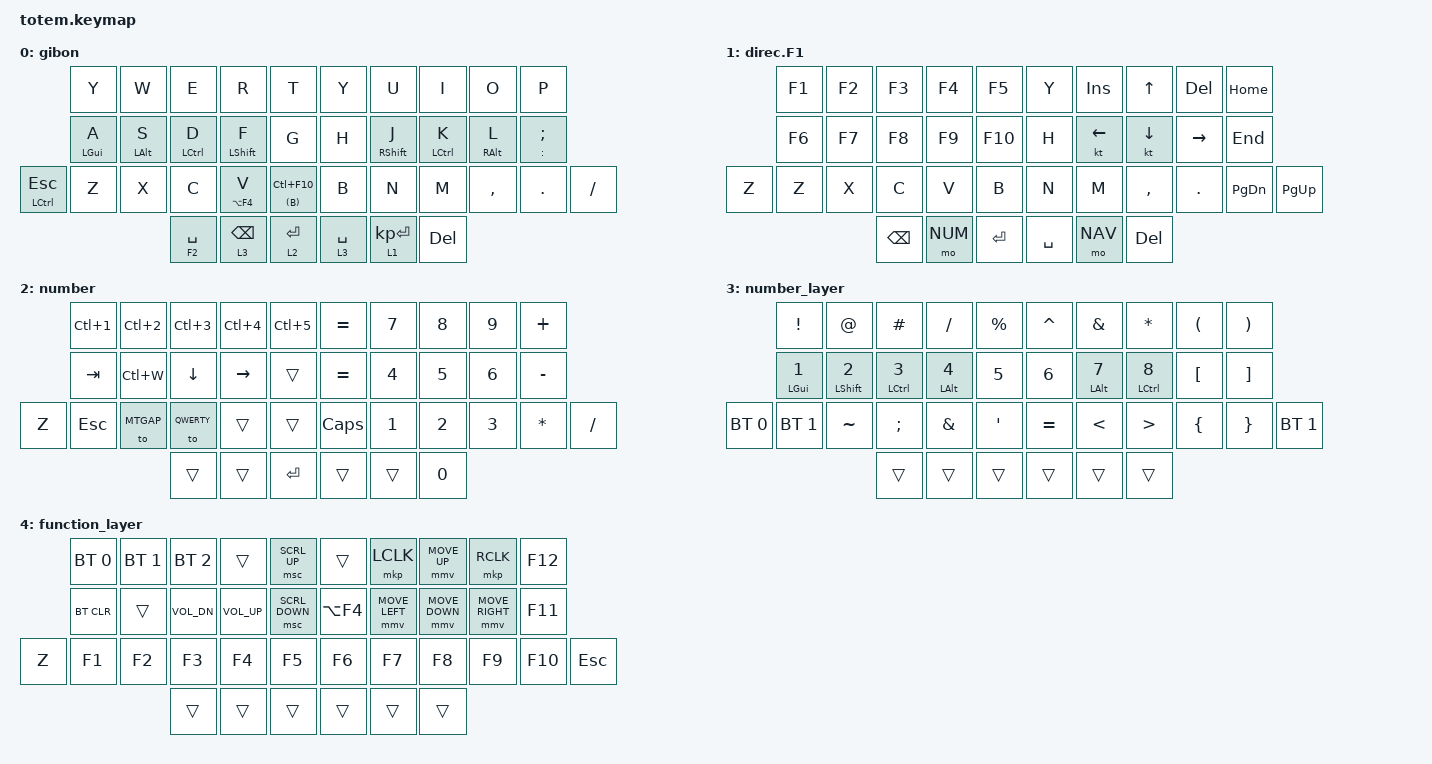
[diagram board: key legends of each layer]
/*
 * Copyright (c) 2020 The ZMK Contributors
 *
 * SPDX-License-Identifier: MIT
 */

#define MTGAP 0
#define QWERTY 1
#define NAV 2
#define NUM 3
#define FUNC 4
#define NOTHING 5

#include <behaviors/mouse_keys.dtsi>
#include <dt-bindings/zmk/mouse.h>
#include <behaviors.dtsi>
#include <dt-bindings/zmk/bt.h>
#include <dt-bindings/zmk/keys.h>
#include <dt-bindings/zmk/pointing.h>

/ {
    conditional_layers {
        compatible = "zmk,conditional-layers";

        tri_layer {
            if-layers = <NAV NUM>;
            then-layer = <FUNC>;
        };
    };

    behaviors {
        ht: holdtap_tappreffered {
            compatible = "zmk,behavior-hold-tap";
            #binding-cells = <2>;
            flavor = "tap-preferred";
            tapping-term-ms = <200>;
            quick-tap-ms = <200>;
            require-prior-idle-ms = <125>;
            bindings = <&kp>, <&kp>;
        };
    };

    combos {
        compatible = "zmk,combos";

        g1 {
            bindings = <&kp LEFT_PARENTHESIS>;
            key-positions = <2 1>;
        };

        g2 {
            bindings = <&kp RIGHT_PARENTHESIS>;
            key-positions = <3 2>;
        };

        wave {
            bindings = <&kp TILDE>;
            key-positions = <10 11>;
        };

        d1 {
            bindings = <&kp MINUS>;
            key-positions = <21 22>;
        };

        d2 {
            bindings = <&kt COLON>;
            key-positions = <22 23>;
        };

        f10 {
            bindings = <&kp LC(F10)>;
            key-positions = <1 10>;
        };
    };

    keymap {
        compatible = "zmk,keymap";

        gibon {
            // -----------------------------------------------------------------------------------------
            // |  TAB |  Y    |  P      |  O      |  U      |  J  |   |  K  |  D      |  L      |  C      |  W      | BKSP |
            // | CTRL | gui(I)|  sft(N) |  ctl(E) |  alt(A) |  .  |   |  M  |  alt(H) |  ctl(T) |  sft(S) |  gui(R) |  '   |
            // | SHFT |  Q    |  Z      |  ;      |  ,      |  '  |   |  B  |  F      |  G      |  V      |  X      | ESC  |
            //                          | bksp    | NUM     | SPC |   | ENT | RSE     | ALT     |

            bindings = <
                      &kp Y       &kp W           &kp E         &kp R             &kp T              &kp Y        &kp U              &kp I        &kp O            &kp P
                      &ht LGUI A  &ht LEFT_ALT S  &ht LCTRL D   &ht LEFT_SHIFT F  &kp G              &kp H        &ht RIGHT_SHIFT J  &ht LCTRL K  &ht RIGHT_ALT L  &ht COLON SEMICOLON
&ht LEFT_CONTROL ESC  &kp Z       &kp X           &kp C         &ht LA(F4) V      &ht (B) LC(F10)    &kp B        &kp N              &kp M        &kp COMMA        &kp PERIOD           &kp SLASH
                                                  &ht F2 SPACE  &lt 3 BACKSPACE   &lt 2 ENTER        &lt 3 SPACE  &lt 1 KP_ENTER     &kp DEL
            >;
        };

        direc.F1 {
            // -----------------------------------------------------------------------------------------
            // |  TAB |  Q    |  W      |  E      |  R      |  T  |   |  Y  |  U      |  I      |  O      |  P      | BKSP |
            // | CTRL | gui(A)|  sft(S) |  ctl(D) |  alt(F) |  G  |   |  H  |  alt(J) |  ctl(K) |  sft(L) |  gui(;) |  '   |
            // | SHFT |  Z    |  X      |  C      |  V      |  B  |   |  N  |  M      |  ,      |  .      |  /      | ESC  |
            //                          | GUI     | LWR     | SPC |   | ENT | RSE     | ALT     |

            bindings = <
       &kp F1  &kp F2  &kp F3    &kp F4   &kp F5       &kp Y      &kp INSERT  &kp UP_ARROW  &kp DEL    &kp HOME
       &kp F6  &kp F7  &kp F8    &kp F9   &kp F10      &kp H      &kt LEFT    &kt DOWN      &kp RIGHT  &kp END
&kp Z  &kp Z   &kp X   &kp C     &kp V    &kp B        &kp N      &kp M       &kp COMMA     &kp DOT    &kp PAGE_DOWN  &kp PAGE_UP
                       &kp BKSP  &mo NUM  &kp ENTER    &kp SPACE  &mo NAV     &kp DEL
            >;
        };

        number {
            // -----------------------------------------------------------------------------------------
            // |  TAB |  `  |     |  up |     |     |   |     |        | PGUP   | RALT  |     | BKSP |
            // | BTCLR| TAB | left| down|right|     |   |     |LA(HOME)|LC(PGDN)|LS(END)|     |      |
            // | SHFT | ESC |MTGAP|QWERT|     |     |   |     |G(left) |G(UP)   |G(RIGH)|CAPS |      |
            //                    |     |     |     |   |     |        |        |

            bindings = <
       &kp LC(NUMBER_1)  &kp LC(NUMBER_2)  &kp LC(NUMBER_3)  &kp LC(NUMBER_4)  &kp LC(N5)    &kp EQUAL     &kp N7        &kp N8        &kp N9        &kp PLUS
       &kp TAB           &kp LC(W)         &kp DOWN          &kp RIGHT         &trans        &kp EQUAL     &kp NUMBER_4  &kp N5        &kp NUMBER_6  &kp MINUS
&kp Z  &kp ESC           &to MTGAP         &to QWERTY        &trans            &trans        &kp CAPSLOCK  &kp NUMBER_1  &kp NUMBER_2  &kp NUMBER_3  &kp ASTERISK  &kp SLASH
                                           &trans            &trans            &kp ENTER     &trans        &trans        &kp N0
            >;
        };

        number_layer {
            // -----------------------------------------------------------------------------------------
            // |  TAB |  +  |  -  |  *  |  /  |  %  |   |  \  |  (  |  )  |  [  |  ]  | BKSP |
            // | CTRL |LG(1)|LS(2)|LC(3)|LA(4)|  5  |   |  6  |LA(7)|LC(8)|LS(9)|LG(0)|  `   |
            // | SHFT |  !  |  ~  |  ;  |  &  |  '  |   |  =  |  <  |  >  |  {  |  }  |  ~   |
            //                    | GUI |     | SPC |   | ENT |     | ALT |

            bindings = <
              &kp EXCLAMATION  &kp AT_SIGN   &kp HASH      &kp SLASH    &kp PRCNT    &kp CARET  &kp AMPERSAND  &kp ASTERISK  &kp LEFT_PARENTHESIS  &kp RIGHT_PARENTHESIS
              &ht LGUI N1      &ht LSHFT N2  &ht LCTRL N3  &ht LALT N4  &kp N5       &kp N6     &ht LALT N7    &ht LCTRL N8  &kp LEFT_BRACKET      &kp RIGHT_BRACKET
&bt BT_SEL 0  &bt BT_SEL 1     &kp TILDE     &kp SEMI      &kp AMPS     &kp SQT      &kp EQUAL  &kp LT         &kp GT        &kp LBRC              &kp RBRC               &bt BT_SEL 1
                                             &trans        &trans       &trans       &trans     &trans         &trans
            >;
        };

        function_layer {
            // -----------------------------------------------------------------------------------------
            // |      | BT1 | BT2 | BT3 |     |MSCDN|   |     |mkpL |mmvUP|mkpR | F12 |      |
            // |      |BTCLR|     |VOLDN|VOLUP|MSCUP|   |A(F4)|mmvLE|mmvDN|mmvRI| F11 |      |
            // |      | F1  | F2  | F3  | F4  | F5  |   | F6  | F7  | F8  | F9  | F10 |      |
            //                    | GUI |     | SPC |   | ENT |     | ALT |

            bindings = <
       &bt BT_SEL 0  &bt BT_SEL 1  &bt BT_SEL 2  &trans        &msc SCRL_UP      &trans      &mkp LCLK       &mmv MOVE_UP    &mkp RCLK        &kp F12
       &bt BT_CLR    &trans        &kp C_VOL_DN  &kp C_VOL_UP  &msc SCRL_DOWN    &kp LA(F4)  &mmv MOVE_LEFT  &mmv MOVE_DOWN  &mmv MOVE_RIGHT  &kp F11
&kp Z  &kp F1        &kp F2        &kp F3        &kp F4        &kp F5            &kp F6      &kp F7          &kp F8          &kp F9           &kp F10  &kp ESC
                                   &trans        &trans        &trans            &trans      &trans          &trans
            >;
        };
    };
};
